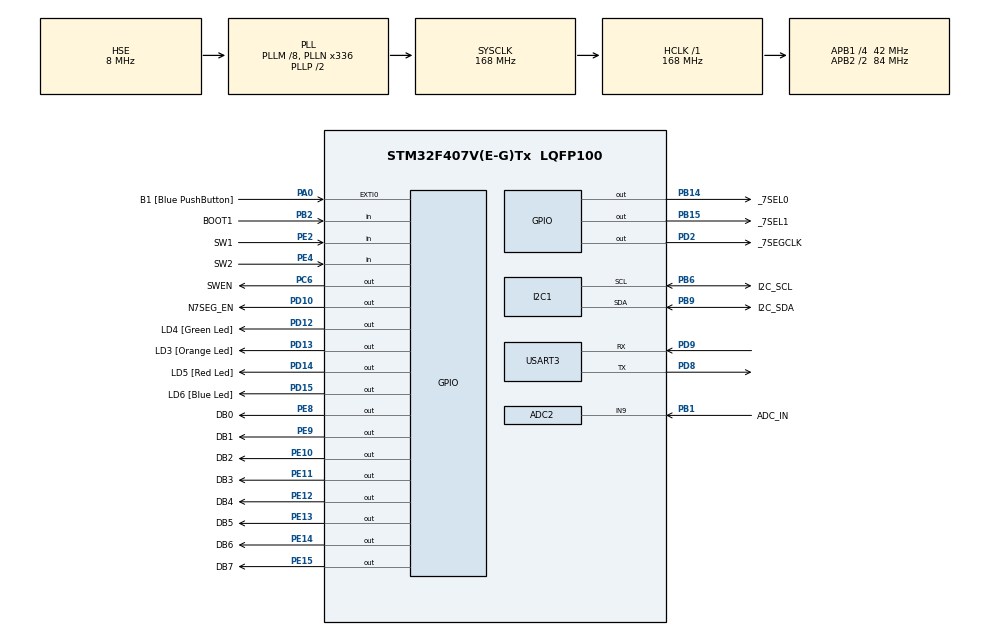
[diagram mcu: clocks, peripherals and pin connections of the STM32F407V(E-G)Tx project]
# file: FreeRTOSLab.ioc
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ADC2.Channel-1\#ChannelRegularConversion=ADC_CHANNEL_9
ADC2.ClockPrescaler=ADC_CLOCK_SYNC_PCLK_DIV6
ADC2.ContinuousConvMode=ENABLE
ADC2.EOCSelection=ADC_EOC_SEQ_CONV
ADC2.NbrOfConversion=1
ADC2.NbrOfConversionFlag=1
ADC2.Rank-1\#ChannelRegularConversion=1
ADC2.SamplingTime-1\#ChannelRegularConversion=ADC_SAMPLETIME_3CYCLES
FREERTOS.Tasks01=defaultTask,0,128,StartDefaultTask,Default,NULL,Dynamic,NULL,NULL
Mcu.Family=STM32F4
Mcu.Name=STM32F407V(E-G)Tx
Mcu.Package=LQFP100
NVIC.PriorityGroup=NVIC_PRIORITYGROUP_4
NVIC.TIM1_UP_TIM10_IRQn=true\:0\:0\:false\:false\:true\:false\:false\:true
NVIC.TIM4_IRQn=true\:8\:0\:true\:false\:true\:true\:true\:true
NVIC.TimeBase=TIM1_UP_TIM10_IRQn
NVIC.TimeBaseIP=TIM1
NVIC.USART3_IRQn=true\:7\:0\:true\:false\:true\:true\:true\:true
PA0-WKUP.GPIO_Label=B1 [Blue PushButton]
PA0-WKUP.GPIO_ModeDefaultEXTI=GPIO_MODE_EVT_RISING
PA0-WKUP.GPIO_PuPd=GPIO_NOPULL
PA0-WKUP.Signal=GPXTI0
PA13.GPIO_Label=SWDIO
PA13.Mode=Serial_Wire
PA13.Signal=SYS_JTMS-SWDIO
PA14.GPIO_Label=SWCLK
PA14.Mode=Serial_Wire
PA14.Signal=SYS_JTCK-SWCLK
PB1.GPIO_Label=ADC_IN
PB1.Signal=ADCx_IN9
PB14.GPIO_Label=_7SEL0
PB14.Signal=GPIO_Output
PB15.GPIO_Label=_7SEL1
PB15.Signal=GPIO_Output
PB2.GPIO_Label=BOOT1
PB2.GPIO_Mode=GPIO_MODE_INPUT
PB2.GPIO_PuPd=GPIO_NOPULL
PB2.Signal=GPIO_Input
PB6.GPIO_Label=I2C_SCL
PB6.GPIO_Mode=GPIO_MODE_AF_OD
PB6.GPIO_PuPd=GPIO_NOPULL
PB6.GPIO_PuPdOD=GPIO_NOPULL
PB6.GPIO_Speed=GPIO_SPEED_FREQ_HIGH
PB6.Mode=I2C
PB6.Signal=I2C1_SCL
PB9.GPIO_Label=I2C_SDA
PB9.GPIO_Mode=GPIO_MODE_AF_OD
PB9.GPIO_PuPd=GPIO_NOPULL
PB9.GPIO_PuPdOD=GPIO_NOPULL
PB9.GPIO_Speed=GPIO_SPEED_FREQ_HIGH
PB9.Mode=I2C
PB9.Signal=I2C1_SDA
PC14-OSC32_IN.GPIO_Label=PC14-OSC32_IN
PC14-OSC32_IN.Mode=LSE-External-Oscillator
PC14-OSC32_IN.Signal=RCC_OSC32_IN
PC15-OSC32_OUT.GPIO_Label=PC15-OSC32_OUT
PC15-OSC32_OUT.Mode=LSE-External-Oscillator
PC15-OSC32_OUT.Signal=RCC_OSC32_OUT
PC6.GPIO_Label=SWEN
PC6.PinState=GPIO_PIN_SET
PC6.Signal=GPIO_Output
PD10.GPIO_Label=N7SEG_EN
PD10.PinState=GPIO_PIN_RESET
PD10.Signal=GPIO_Output
PD12.GPIO_Label=LD4 [Green Led]
PD12.GPIO_PuPd=GPIO_NOPULL
PD12.GPIO_Speed=GPIO_SPEED_FREQ_LOW
PD12.Signal=GPIO_Output
PD13.GPIO_Label=LD3 [Orange Led]
PD13.GPIO_PuPd=GPIO_NOPULL
PD13.GPIO_Speed=GPIO_SPEED_FREQ_LOW
PD13.Signal=GPIO_Output
PD14.GPIO_Label=LD5 [Red Led]
PD14.GPIO_PuPd=GPIO_NOPULL
PD14.GPIO_Speed=GPIO_SPEED_FREQ_LOW
PD14.Signal=GPIO_Output
PD15.GPIO_Label=LD6 [Blue Led]
PD15.GPIO_PuPd=GPIO_NOPULL
PD15.GPIO_Speed=GPIO_SPEED_FREQ_LOW
PD15.Signal=GPIO_Output
PD2.GPIO_Label=_7SEGCLK
PD2.Signal=GPIO_Output
PD8.Mode=Asynchronous
PD8.Signal=USART3_TX
PD9.Mode=Asynchronous
PD9.Signal=USART3_RX
PE10.GPIO_Label=DB2
PE10.Signal=GPIO_Output
PE11.GPIO_Label=DB3
PE11.Signal=GPIO_Output
PE12.GPIO_Label=DB4
PE12.Signal=GPIO_Output
PE13.GPIO_Label=DB5
PE13.Signal=GPIO_Output
PE14.GPIO_Label=DB6
PE14.Signal=GPIO_Output
PE15.GPIO_Label=DB7
PE15.Signal=GPIO_Output
PE2.GPIO_Label=SW1
PE2.Signal=GPIO_Input
PE4.GPIO_Label=SW2
PE4.Signal=GPIO_Input
PE8.GPIO_Label=DB0
PE8.Signal=GPIO_Output
PE9.GPIO_Label=DB1
PE9.Signal=GPIO_Output
PH0-OSC_IN.GPIO_Label=PH0-OSC_IN
PH0-OSC_IN.Mode=HSE-External-Oscillator
PH0-OSC_IN.Signal=RCC_OSC_IN
PH1-OSC_OUT.GPIO_Label=PH1-OSC_OUT
PH1-OSC_OUT.Mode=HSE-External-Oscillator
PH1-OSC_OUT.Signal=RCC_OSC_OUT
ProjectManager.HeapSize=0x200
ProjectManager.StackSize=0x400
ProjectManager.TargetToolchain=STM32CubeIDE
RCC.48MHZClocksFreq_Value=48000000
RCC.AHBFreq_Value=168000000
RCC.APB1CLKDivider=RCC_HCLK_DIV4
RCC.APB1Freq_Value=42000000
RCC.APB1TimFreq_Value=84000000
RCC.APB2CLKDivider=RCC_HCLK_DIV2
RCC.APB2Freq_Value=84000000
RCC.APB2TimFreq_Value=168000000
RCC.CortexFreq_Value=168000000
RCC.HCLKFreq_Value=168000000
RCC.HSE_VALUE=8000000
RCC.HSI_VALUE=16000000
RCC.PLLM=8
RCC.PLLN=336
RCC.PLLQ=7
RCC.PLLSourceVirtual=RCC_PLLSOURCE_HSE
RCC.SYSCLKFreq_VALUE=168000000
RCC.SYSCLKSource=RCC_SYSCLKSOURCE_PLLCLK
RCC.VCOOutputFreq_Value=336000000
SH.ADCx_IN9.0=ADC2_IN9,IN9
TIM4.AutoReloadPreload=TIM_AUTORELOAD_PRELOAD_ENABLE
TIM4.Period=399
TIM4.Prescaler=83
USART3.VirtualMode=VM_ASYNC
VP_FREERTOS_VS_CMSIS_V1.Mode=CMSIS_V1
VP_SYS_VS_tim1.Mode=TIM1
VP_TIM4_VS_ClockSourceINT.Mode=Internal
board=STM32F407G-DISC1

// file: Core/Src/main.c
/* USER CODE BEGIN Header */
/**
  ******************************************************************************
  * @file           : main.c
  * @brief          : Main program body
  ******************************************************************************
  * @attention
  *
  * <h2><center>&copy; Copyright (c) 2020 STMicroelectronics.
  * All rights reserved.</center></h2>
  *
  * This software component is licensed by ST under Ultimate Liberty license
  * SLA0044, the "License"; You may not use this file except in compliance with
  * the License. You may obtain a copy of the License at:
  *                             www.st.com/SLA0044
  *
  ******************************************************************************
  */
/* USER CODE END Header */
#include "main.h"
#include "cmsis_os.h"

/* USER CODE BEGIN Includes */
#include "bsp.h"
#include "tasks.h"
/* USER CODE END Includes */

/* USER CODE BEGIN PM */
/* Task Priority Definitions */
#define TASK_MAIN_PRIO	tskIDLE_PRIORITY + 1
/* Task Stack Definitions */
#define DEFAULT_STACK_SIZE	128
/* USER CODE END PM */

ADC_HandleTypeDef hadc2;

I2C_HandleTypeDef hi2c1;

TIM_HandleTypeDef htim4;

UART_HandleTypeDef huart3;

osThreadId defaultTaskHandle;

void SystemClock_Config(void);
static void MX_GPIO_Init(void);
static void MX_I2C1_Init(void);
static void MX_ADC2_Init(void);
static void MX_TIM4_Init(void);
static void MX_USART3_UART_Init(void);
void StartDefaultTask(void const * argument);

int main(void)
{

  /* MCU Configuration--------------------------------------------------------*/

  /* Reset of all peripherals, Initializes the Flash interface and the Systick. */
  HAL_Init();

  /* Configure the system clock */
  SystemClock_Config();

  /* Initialize all configured peripherals */
  MX_GPIO_Init();
  MX_I2C1_Init();
  MX_ADC2_Init();
  MX_TIM4_Init();
  MX_USART3_UART_Init();

  /* Create the thread(s) */
  /* definition and creation of defaultTask */
  osThreadDef(defaultTask, StartDefaultTask, osPriorityNormal, 0, 128);
  defaultTaskHandle = osThreadCreate(osThread(defaultTask), NULL);

  /* Start scheduler */
  osKernelStart();

  /* We should never get here as control is now taken by the scheduler */
  /* Infinite loop */
  while (1)
  {

  }
}

void SystemClock_Config(void)
{
  RCC_OscInitTypeDef RCC_OscInitStruct = {0};
  RCC_ClkInitTypeDef RCC_ClkInitStruct = {0};

  /** Configure the main internal regulator output voltage
  */
  __HAL_RCC_PWR_CLK_ENABLE();
  __HAL_PWR_VOLTAGESCALING_CONFIG(PWR_REGULATOR_VOLTAGE_SCALE1);
  /** Initializes the RCC Oscillators according to the specified parameters
  * in the RCC_OscInitTypeDef structure.
  */
  RCC_OscInitStruct.OscillatorType = RCC_OSCILLATORTYPE_HSE;
  RCC_OscInitStruct.HSEState = RCC_HSE_ON;
  RCC_OscInitStruct.PLL.PLLState = RCC_PLL_ON;
  RCC_OscInitStruct.PLL.PLLSource = RCC_PLLSOURCE_HSE;
  RCC_OscInitStruct.PLL.PLLM = 8;
  RCC_OscInitStruct.PLL.PLLN = 336;
  RCC_OscInitStruct.PLL.PLLP = RCC_PLLP_DIV2;
  RCC_OscInitStruct.PLL.PLLQ = 7;
  if (HAL_RCC_OscConfig(&RCC_OscInitStruct) != HAL_OK)
  {
    Error_Handler();
  }
  /** Initializes the CPU, AHB and APB buses clocks
  */
  RCC_ClkInitStruct.ClockType = RCC_CLOCKTYPE_HCLK|RCC_CLOCKTYPE_SYSCLK
                              |RCC_CLOCKTYPE_PCLK1|RCC_CLOCKTYPE_PCLK2;
  RCC_ClkInitStruct.SYSCLKSource = RCC_SYSCLKSOURCE_PLLCLK;
  RCC_ClkInitStruct.AHBCLKDivider = RCC_SYSCLK_DIV1;
  RCC_ClkInitStruct.APB1CLKDivider = RCC_HCLK_DIV4;
  RCC_ClkInitStruct.APB2CLKDivider = RCC_HCLK_DIV2;

  if (HAL_RCC_ClockConfig(&RCC_ClkInitStruct, FLASH_LATENCY_5) != HAL_OK)
  {
    Error_Handler();
  }
}

static void MX_ADC2_Init(void)
{

  ADC_ChannelConfTypeDef sConfig = {0};

  /** Configure the global features of the ADC (Clock, Resolution, Data Alignment and number of conversion)
  */
  hadc2.Instance = ADC2;
  hadc2.Init.ClockPrescaler = ADC_CLOCK_SYNC_PCLK_DIV6;
  hadc2.Init.Resolution = ADC_RESOLUTION_12B;
  hadc2.Init.ScanConvMode = DISABLE;
  hadc2.Init.ContinuousConvMode = ENABLE;
  hadc2.Init.DiscontinuousConvMode = DISABLE;
  hadc2.Init.ExternalTrigConvEdge = ADC_EXTERNALTRIGCONVEDGE_NONE;
  hadc2.Init.ExternalTrigConv = ADC_SOFTWARE_START;
  hadc2.Init.DataAlign = ADC_DATAALIGN_RIGHT;
  hadc2.Init.NbrOfConversion = 1;
  hadc2.Init.DMAContinuousRequests = DISABLE;
  hadc2.Init.EOCSelection = ADC_EOC_SEQ_CONV;
  if (HAL_ADC_Init(&hadc2) != HAL_OK)
  {
    Error_Handler();
  }
  /** Configure for the selected ADC regular channel its corresponding rank in the sequencer and its sample time.
  */
  sConfig.Channel = ADC_CHANNEL_9;
  sConfig.Rank = 1;
  sConfig.SamplingTime = ADC_SAMPLETIME_3CYCLES;
  if (HAL_ADC_ConfigChannel(&hadc2, &sConfig) != HAL_OK)
  {
    Error_Handler();
  }

}

static void MX_I2C1_Init(void)
{

  hi2c1.Instance = I2C1;
  hi2c1.Init.ClockSpeed = 100000;
  hi2c1.Init.DutyCycle = I2C_DUTYCYCLE_2;
  hi2c1.Init.OwnAddress1 = 0;
  hi2c1.Init.AddressingMode = I2C_ADDRESSINGMODE_7BIT;
  hi2c1.Init.DualAddressMode = I2C_DUALADDRESS_DISABLE;
  hi2c1.Init.OwnAddress2 = 0;
  hi2c1.Init.GeneralCallMode = I2C_GENERALCALL_DISABLE;
  hi2c1.Init.NoStretchMode = I2C_NOSTRETCH_DISABLE;
  if (HAL_I2C_Init(&hi2c1) != HAL_OK)
  {
    Error_Handler();
  }

}

static void MX_TIM4_Init(void)
{

  TIM_ClockConfigTypeDef sClockSourceConfig = {0};
  TIM_MasterConfigTypeDef sMasterConfig = {0};

  htim4.Instance = TIM4;
  htim4.Init.Prescaler = 83;
  htim4.Init.CounterMode = TIM_COUNTERMODE_UP;
  htim4.Init.Period = 399;
  htim4.Init.ClockDivision = TIM_CLOCKDIVISION_DIV1;
  htim4.Init.AutoReloadPreload = TIM_AUTORELOAD_PRELOAD_ENABLE;
  if (HAL_TIM_Base_Init(&htim4) != HAL_OK)
  {
    Error_Handler();
  }
  sClockSourceConfig.ClockSource = TIM_CLOCKSOURCE_INTERNAL;
  if (HAL_TIM_ConfigClockSource(&htim4, &sClockSourceConfig) != HAL_OK)
  {
    Error_Handler();
  }
  sMasterConfig.MasterOutputTrigger = TIM_TRGO_RESET;
  sMasterConfig.MasterSlaveMode = TIM_MASTERSLAVEMODE_DISABLE;
  if (HAL_TIMEx_MasterConfigSynchronization(&htim4, &sMasterConfig) != HAL_OK)
  {
    Error_Handler();
  }

}

static void MX_USART3_UART_Init(void)
{

  huart3.Instance = USART3;
  huart3.Init.BaudRate = 115200;
  huart3.Init.WordLength = UART_WORDLENGTH_8B;
  huart3.Init.StopBits = UART_STOPBITS_1;
  huart3.Init.Parity = UART_PARITY_NONE;
  huart3.Init.Mode = UART_MODE_TX_RX;
  huart3.Init.HwFlowCtl = UART_HWCONTROL_NONE;
  huart3.Init.OverSampling = UART_OVERSAMPLING_16;
  if (HAL_UART_Init(&huart3) != HAL_OK)
  {
    Error_Handler();
  }

}

static void MX_GPIO_Init(void)
{
  GPIO_InitTypeDef GPIO_InitStruct = {0};

  /* GPIO Ports Clock Enable */
  __HAL_RCC_GPIOE_CLK_ENABLE();
  __HAL_RCC_GPIOC_CLK_ENABLE();
  __HAL_RCC_GPIOH_CLK_ENABLE();
  __HAL_RCC_GPIOA_CLK_ENABLE();
  __HAL_RCC_GPIOB_CLK_ENABLE();
  __HAL_RCC_GPIOD_CLK_ENABLE();

  /*Configure GPIO pin Output Level */
  HAL_GPIO_WritePin(GPIOE, DB0_Pin|DB1_Pin|DB2_Pin|DB3_Pin
                          |DB4_Pin|DB5_Pin|DB6_Pin|DB7_Pin, GPIO_PIN_RESET);

  /*Configure GPIO pin Output Level */
  HAL_GPIO_WritePin(GPIOB, _7SEL0_Pin|_7SEL1_Pin, GPIO_PIN_RESET);

  /*Configure GPIO pin Output Level */
  HAL_GPIO_WritePin(GPIOD, N7SEG_EN_Pin|LD4_Pin|LD3_Pin|LD5_Pin
                          |LD6_Pin|_7SEGCLK_Pin, GPIO_PIN_RESET);

  /*Configure GPIO pin Output Level */
  HAL_GPIO_WritePin(SWEN_GPIO_Port, SWEN_Pin, GPIO_PIN_SET);

  /*Configure GPIO pins : SW1_Pin SW2_Pin */
  GPIO_InitStruct.Pin = SW1_Pin|SW2_Pin;
  GPIO_InitStruct.Mode = GPIO_MODE_INPUT;
  GPIO_InitStruct.Pull = GPIO_NOPULL;
  HAL_GPIO_Init(GPIOE, &GPIO_InitStruct);

  /*Configure GPIO pin : B1_Pin */
  GPIO_InitStruct.Pin = B1_Pin;
  GPIO_InitStruct.Mode = GPIO_MODE_EVT_RISING;
  GPIO_InitStruct.Pull = GPIO_NOPULL;
  HAL_GPIO_Init(B1_GPIO_Port, &GPIO_InitStruct);

  /*Configure GPIO pin : BOOT1_Pin */
  GPIO_InitStruct.Pin = BOOT1_Pin;
  GPIO_InitStruct.Mode = GPIO_MODE_INPUT;
  GPIO_InitStruct.Pull = GPIO_NOPULL;
  HAL_GPIO_Init(BOOT1_GPIO_Port, &GPIO_InitStruct);

  /*Configure GPIO pins : DB0_Pin DB1_Pin DB2_Pin DB3_Pin
                           DB4_Pin DB5_Pin DB6_Pin DB7_Pin */
  GPIO_InitStruct.Pin = DB0_Pin|DB1_Pin|DB2_Pin|DB3_Pin
                          |DB4_Pin|DB5_Pin|DB6_Pin|DB7_Pin;
  GPIO_InitStruct.Mode = GPIO_MODE_OUTPUT_PP;
  GPIO_InitStruct.Pull = GPIO_NOPULL;
  GPIO_InitStruct.Speed = GPIO_SPEED_FREQ_LOW;
  HAL_GPIO_Init(GPIOE, &GPIO_InitStruct);

  /*Configure GPIO pins : _7SEL0_Pin _7SEL1_Pin */
  GPIO_InitStruct.Pin = _7SEL0_Pin|_7SEL1_Pin;
  GPIO_InitStruct.Mode = GPIO_MODE_OUTPUT_PP;
  GPIO_InitStruct.Pull = GPIO_NOPULL;
  GPIO_InitStruct.Speed = GPIO_SPEED_FREQ_LOW;
  HAL_GPIO_Init(GPIOB, &GPIO_InitStruct);

  /*Configure GPIO pins : N7SEG_EN_Pin LD4_Pin LD3_Pin LD5_Pin
                           LD6_Pin _7SEGCLK_Pin */
  GPIO_InitStruct.Pin = N7SEG_EN_Pin|LD4_Pin|LD3_Pin|LD5_Pin
                          |LD6_Pin|_7SEGCLK_Pin;
  GPIO_InitStruct.Mode = GPIO_MODE_OUTPUT_PP;
  GPIO_InitStruct.Pull = GPIO_NOPULL;
  GPIO_InitStruct.Speed = GPIO_SPEED_FREQ_LOW;
  HAL_GPIO_Init(GPIOD, &GPIO_InitStruct);

  /*Configure GPIO pin : SWEN_Pin */
  GPIO_InitStruct.Pin = SWEN_Pin;
  GPIO_InitStruct.Mode = GPIO_MODE_OUTPUT_PP;
  GPIO_InitStruct.Pull = GPIO_NOPULL;
  GPIO_InitStruct.Speed = GPIO_SPEED_FREQ_LOW;
  HAL_GPIO_Init(SWEN_GPIO_Port, &GPIO_InitStruct);

}

/* USER CODE BEGIN 4 */
void HAL_UART_RxCpltCallback(UART_HandleTypeDef *huart)
{
	if ( huart->Instance == USART3)
	{
		UART3_RxCpltCallback();
	}
}
/* USER CODE END 4 */

void StartDefaultTask(void const * argument)
{
  /* USER CODE BEGIN 5 */
	/* This is the default task created by the project wizard - it will be used as the initialization tasks*/

	/* Create sync objects*/
	dispSem=xSemaphoreCreateBinary();
	tempSem=xSemaphoreCreateBinary();
	limitSem=xSemaphoreCreateBinary();
	limitFlag=xEventGroupCreate();

	xSemaphoreGive(dispSem);
	xSemaphoreGive(tempSem);
	xSemaphoreGive(limitSem);

	xEventGroupClearBits(limitFlag, 1);

	/* Initialize hardware */
	Display_Init();
	TempSensorInit();
	ADC_Init();
	UART_Init();

	/* Create the tasks implementing the main functionality of the application */
//	xTaskCreate(Task_Main, "MAIN_TASK", DEFAULT_STACK_SIZE, NULL, TASK_MAIN_PRIO, NULL);
	xTaskCreate(Task_TempGet, "TEMP_GET_TASK", DEFAULT_STACK_SIZE, NULL, TASK_MAIN_PRIO, NULL);
	xTaskCreate(Task_TempWrite, "TEMP_WRITE_TASK", DEFAULT_STACK_SIZE, NULL, TASK_MAIN_PRIO, NULL);
	vTaskDelete(NULL);

	vTaskDelete(NULL);
  /* USER CODE END 5 */
}

void HAL_TIM_PeriodElapsedCallback(TIM_HandleTypeDef *htim)
{
  if (htim->Instance == TIM1) {
    HAL_IncTick();
  }
  /* USER CODE BEGIN Callback 1 */
  if (htim->Instance == TIM4)
  {
	  TIM4_PeriodElapsedCallback();
  }
  /* USER CODE END Callback 1 */
}

void Error_Handler(void)
{
}

/************************ (C) COPYRIGHT STMicroelectronics *****END OF FILE****/
